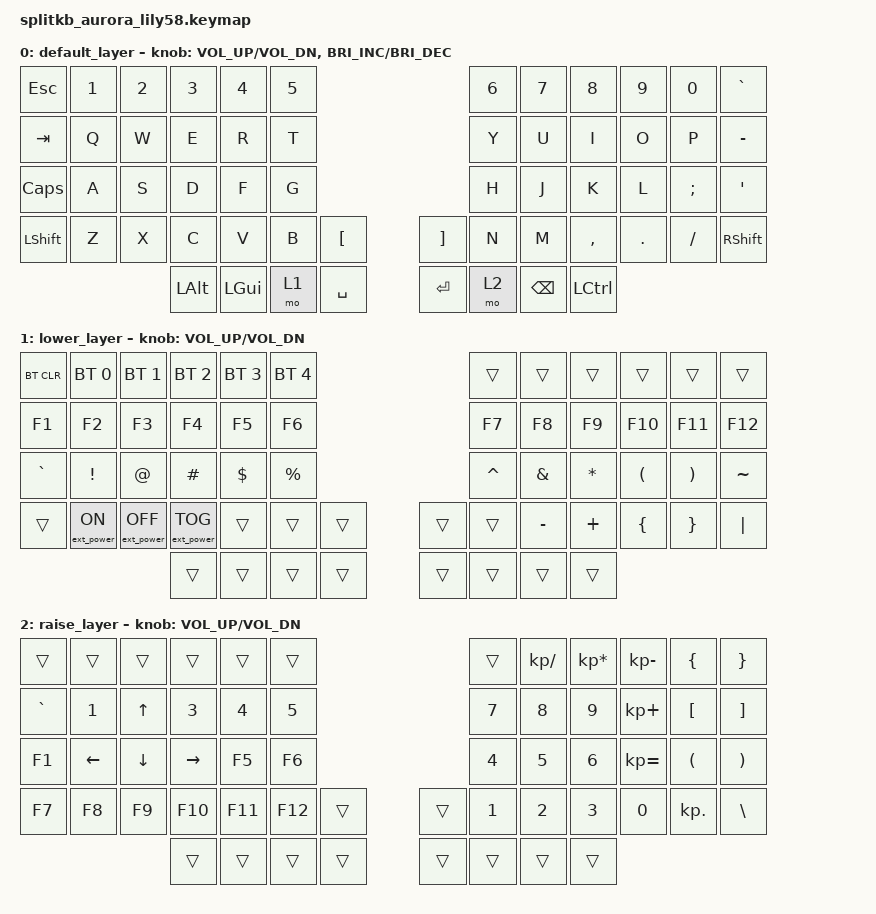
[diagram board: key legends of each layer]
/*
 * Copyright (c) 2022 The ZMK Contributors
 *
 * SPDX-License-Identifier: MIT
 */

#include <behaviors.dtsi>
#include <dt-bindings/zmk/keys.h>
#include <dt-bindings/zmk/bt.h>
#include <dt-bindings/zmk/ext_power.h>

/ {
    keymap {
        compatible = "zmk,keymap";

        default_layer {
            // ------------------------------------------------------------------------------------------------------------
            // |  ESC  |  1  |  2  |  3   |  4   |  5   |                   |  6   |  7    |  8    |  9   |   0   |   `   |
            // |  TAB  |  Q  |  W  |  E   |  R   |  T   |                   |  Y   |  U    |  I    |  O   |   P   |   -   |
            // |  CTRL |  A  |  S  |  D   |  F   |  G   |                   |  H   |  J    |  K    |  L   |   ;   |   '   |
            // | SHIFT |  Z  |  X  |  C   |  V   |  B   |   "["  |  |  "]"  |  N   |  M    |  ,    |  .   |   /   | SHIFT |
            //                     | ALT  | GUI  | LOWER|  SPACE |  | ENTER | RAISE| BSPC  | GUI   |

            bindings = <
     &kp ESC  &kp N1  &kp N2    &kp N3    &kp N4  &kp N5                       &kp N6    &kp N7            &kp N8   &kp N9    &kp N0  &kp GRAVE
     &kp TAB   &kp Q   &kp W     &kp E     &kp R   &kp T                        &kp Y     &kp U             &kp I    &kp O     &kp P  &kp MINUS
&kp CAPSLOCK   &kp A   &kp S     &kp D     &kp F   &kp G                        &kp H     &kp J             &kp K    &kp L  &kp SEMI    &kp SQT
   &kp LSHFT   &kp Z   &kp X     &kp C     &kp V   &kp B   &kp LBKT  &kp RBKT   &kp N     &kp M         &kp COMMA  &kp DOT  &kp FSLH  &kp RSHFT
                              &kp LALT  &kp LGUI   &mo 1  &kp SPACE   &kp RET   &mo 2  &kp BSPC  &kp LEFT_CONTROL
            >;

            sensor-bindings = <&inc_dec_kp C_VOL_UP C_VOL_DN &inc_dec_kp C_BRIGHTNESS_INC C_BRIGHTNESS_DEC>;
        };

        lower_layer {
            // ------------------------------------------------------------------------------------------------------------
            // | BTCLR | BT1 | BT2 |  BT3 |  BT4 |  BT5 |                   |      |       |       |      |       |       |
            // |  F1   |  F2 |  F3 |  F4  |  F5  |  F6  |                   |  F7  |  F8   |  F9   |  F10 |  F11  |  F12  |
            // |   `   |  !  |  @  |  #   |  $   |  %   |                   |  ^   |  &    |  *    |  (   |   )   |   ~   |
            // |       |     |     |      |      |      |        |  |       |      |  _    |  +    |  {   |   }   |  "|"  |
            //                     |      |      |      |        |  |       |      |       |       |

            bindings = <
&bt BT_CLR      &bt BT_SEL 0       &bt BT_SEL 1       &bt BT_SEL 2  &bt BT_SEL 3  &bt BT_SEL 4                     &trans     &trans    &trans    &trans    &trans     &trans
    &kp F1            &kp F2             &kp F3             &kp F4        &kp F5        &kp F6                     &kp F7     &kp F8    &kp F9   &kp F10   &kp F11    &kp F12
 &kp GRAVE          &kp EXCL             &kp AT           &kp HASH    &kp DOLLAR     &kp PRCNT                  &kp CARET   &kp AMPS  &kp STAR  &kp LPAR  &kp RPAR  &kp TILDE
    &trans  &ext_power EP_ON  &ext_power EP_OFF  &ext_power EP_TOG        &trans        &trans  &trans  &trans     &trans  &kp MINUS  &kp PLUS  &kp LBRC  &kp RBRC   &kp PIPE
                                                            &trans        &trans        &trans  &trans  &trans     &trans     &trans    &trans
            >;

            sensor-bindings = <&inc_dec_kp C_VOL_UP C_VOL_DN>;
        };

        raise_layer {
            // ------------------------------------------------------------------------------------------------------------
            // |       |     |     |      |      |      |                   |      |       |       |      |       |       |
            // |   `   |  1  |  2  |  3   |  4   |  5   |                   |  6   |   7   |   8   |  9   |   0   |       |
            // |   F1  |  F2 |  F3 |  F4  |  F5  |  F6  |                   |      |   <-  |   v   |  ^   |  ->   |       |
            // |   F7  |  F8 |  F9 |  F10 |  F11 |  F12 |        |  |       |  +   |   -   |   =   |  [   |   ]   |   \   |
            //                     |      |      |      |        |  |       |      |       |       |

            bindings = <
   &trans    &trans    &trans     &trans   &trans   &trans                        &trans  &kp KP_SLASH  &kp KP_MULTIPLY  &kp KP_MINUS    &kp LEFT_BRACE    &kp RIGHT_BRACE
&kp GRAVE    &kp N1    &kp UP     &kp N3   &kp N4   &kp N5                  &kp NUMBER_7  &kp NUMBER_8     &kp NUMBER_9   &kp KP_PLUS  &kp LEFT_BRACKET  &kp RIGHT_BRACKET
   &kp F1  &kp LEFT  &kp DOWN  &kp RIGHT   &kp F5   &kp F6                  &kp NUMBER_4  &kp NUMBER_5     &kp NUMBER_6  &kp KP_EQUAL          &kp LPAR           &kp RPAR
   &kp F7    &kp F8    &kp F9    &kp F10  &kp F11  &kp F12  &trans  &trans  &kp NUMBER_1  &kp NUMBER_2     &kp NUMBER_3  &kp NUMBER_0        &kp KP_DOT           &kp BSLH
                                  &trans   &trans   &trans  &trans  &trans        &trans        &trans           &trans
            >;

            sensor-bindings = <&inc_dec_kp C_VOL_UP C_VOL_DN>;
        };
    };
};
